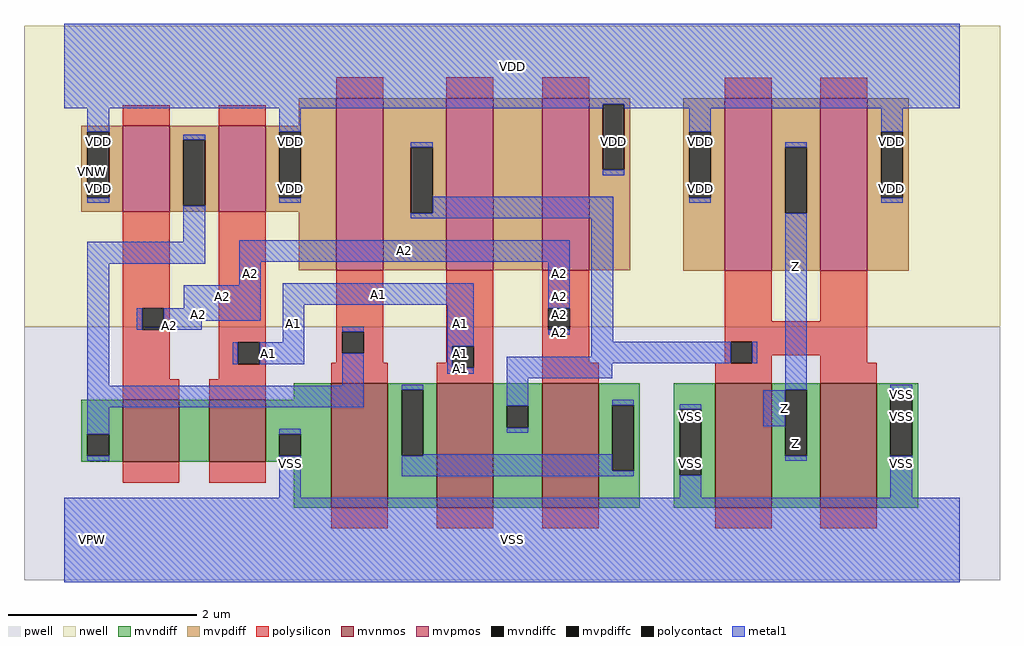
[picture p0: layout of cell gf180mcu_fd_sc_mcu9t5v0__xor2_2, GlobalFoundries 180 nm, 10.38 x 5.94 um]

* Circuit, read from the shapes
.subckt gf180mcu_fd_sc_mcu9t5v0__xor2_2 A1 A2 Z VDD VNW VPW VSS
XM1 n1 A2 n2 VPW nfet_06v0 w=0.66u l=0.6u
XM2 VSS A1 n1 VPW nfet_06v0 w=0.66u l=0.6u
XM3 n3 n2 VSS VPW nfet_06v0 w=1.32u l=0.6u
XM4 n4 A1 n3 VPW nfet_06v0 w=1.32u l=0.6u
XM5 n3 A2 n4 VPW nfet_06v0 w=1.32u l=0.6u
XM6 Z n4 VSS VPW nfet_06v0 w=1.32u l=0.6u m=2
XM7 n2 A2 VDD VNW pfet_06v0 w=0.915u l=0.5u
XM8 VDD A1 n2 VNW pfet_06v0 w=0.915u l=0.5u
XM9 n4 n2 VDD VNW pfet_06v0 w=1.83u l=0.5u
XM10 n5 A1 n4 VNW pfet_06v0 w=1.83u l=0.5u
XM11 VDD A2 n5 VNW pfet_06v0 w=1.83u l=0.5u
XM12 Z n4 VDD VNW pfet_06v0 w=1.83u l=0.5u m=2
.ends

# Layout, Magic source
magic
tech gf180mcuD
magscale 1 10
<< nwell >>
rect -86 453 1990 1094
<< pwell >>
rect -86 -86 1990 453
<< mvnmos >>
rect 124 166 244 298
rect 308 166 428 298
rect 568 69 688 333
rect 792 69 912 333
rect 1016 69 1136 333
rect 1384 69 1504 333
rect 1608 69 1728 333
<< mvpmos >>
rect 124 698 224 881
rect 328 698 428 881
rect 578 574 678 940
rect 812 574 912 940
rect 1016 574 1116 940
rect 1404 573 1504 939
rect 1608 573 1708 939
<< mvndiff >>
rect 488 298 568 333
rect 36 225 124 298
rect 36 179 49 225
rect 95 179 124 225
rect 36 166 124 179
rect 244 166 308 298
rect 428 225 568 298
rect 428 179 457 225
rect 503 179 568 225
rect 428 166 568 179
rect 488 69 568 166
rect 688 319 792 333
rect 688 179 717 319
rect 763 179 792 319
rect 688 69 792 179
rect 912 285 1016 333
rect 912 239 941 285
rect 987 239 1016 285
rect 912 69 1016 239
rect 1136 287 1224 333
rect 1136 147 1165 287
rect 1211 147 1224 287
rect 1136 69 1224 147
rect 1296 278 1384 333
rect 1296 138 1309 278
rect 1355 138 1384 278
rect 1296 69 1384 138
rect 1504 319 1608 333
rect 1504 179 1533 319
rect 1579 179 1608 319
rect 1504 69 1608 179
rect 1728 319 1816 333
rect 1728 179 1757 319
rect 1803 179 1816 319
rect 1728 69 1816 179
<< mvpdiff >>
rect 498 881 578 940
rect 36 868 124 881
rect 36 728 49 868
rect 95 728 124 868
rect 36 698 124 728
rect 224 851 328 881
rect 224 711 253 851
rect 299 711 328 851
rect 224 698 328 711
rect 428 868 578 881
rect 428 728 457 868
rect 503 728 578 868
rect 428 698 578 728
rect 498 574 578 698
rect 678 835 812 940
rect 678 695 737 835
rect 783 695 812 835
rect 678 574 812 695
rect 912 574 1016 940
rect 1116 927 1204 940
rect 1116 787 1145 927
rect 1191 787 1204 927
rect 1116 574 1204 787
rect 1316 868 1404 939
rect 1316 728 1329 868
rect 1375 728 1404 868
rect 1316 573 1404 728
rect 1504 835 1608 939
rect 1504 695 1533 835
rect 1579 695 1608 835
rect 1504 573 1608 695
rect 1708 868 1796 939
rect 1708 728 1737 868
rect 1783 728 1796 868
rect 1708 573 1796 728
<< mvndiffc >>
rect 49 179 95 225
rect 457 179 503 225
rect 717 179 763 319
rect 941 239 987 285
rect 1165 147 1211 287
rect 1309 138 1355 278
rect 1533 179 1579 319
rect 1757 179 1803 319
<< mvpdiffc >>
rect 49 728 95 868
rect 253 711 299 851
rect 457 728 503 868
rect 737 695 783 835
rect 1145 787 1191 927
rect 1329 728 1375 868
rect 1533 695 1579 835
rect 1737 728 1783 868
<< polysilicon >>
rect 578 940 678 984
rect 812 940 912 984
rect 1016 940 1116 984
rect 124 881 224 925
rect 328 881 428 925
rect 124 493 224 698
rect 124 447 165 493
rect 211 447 224 493
rect 124 342 224 447
rect 328 420 428 698
rect 1404 939 1504 983
rect 1608 939 1708 983
rect 328 374 369 420
rect 415 374 428 420
rect 578 443 678 574
rect 578 397 591 443
rect 637 397 678 443
rect 578 377 678 397
rect 812 412 912 574
rect 812 377 825 412
rect 328 342 428 374
rect 124 298 244 342
rect 308 298 428 342
rect 568 333 688 377
rect 792 366 825 377
rect 871 366 912 412
rect 792 333 912 366
rect 1016 493 1116 574
rect 1016 447 1029 493
rect 1075 447 1116 493
rect 1016 377 1116 447
rect 1404 465 1504 573
rect 1608 465 1708 573
rect 1404 422 1708 465
rect 1404 377 1417 422
rect 1016 333 1136 377
rect 1384 376 1417 377
rect 1463 393 1708 422
rect 1463 376 1504 393
rect 1384 333 1504 376
rect 1608 377 1708 393
rect 1608 333 1728 377
rect 124 122 244 166
rect 308 122 428 166
rect 568 25 688 69
rect 792 25 912 69
rect 1016 25 1136 69
rect 1384 25 1504 69
rect 1608 25 1728 69
<< polycontact >>
rect 165 447 211 493
rect 369 374 415 420
rect 591 397 637 443
rect 825 366 871 412
rect 1029 447 1075 493
rect 1417 376 1463 422
<< metal1 >>
rect 0 927 1904 1098
rect 0 918 1145 927
rect 49 868 95 918
rect 457 868 503 918
rect 49 717 95 728
rect 253 851 299 862
rect 457 717 503 728
rect 737 835 783 846
rect 253 634 299 711
rect 1191 918 1904 927
rect 1145 776 1191 787
rect 1329 868 1375 918
rect 783 695 1167 730
rect 1737 868 1783 918
rect 1329 717 1375 728
rect 1533 835 1579 846
rect 737 684 1167 695
rect 49 588 299 634
rect 372 592 1075 638
rect 49 328 95 588
rect 372 542 418 592
rect 254 493 418 542
rect 154 447 165 493
rect 211 466 418 493
rect 464 500 871 546
rect 211 447 292 466
rect 464 420 510 500
rect 358 374 369 420
rect 415 374 510 420
rect 591 443 637 454
rect 591 328 637 397
rect 814 412 871 500
rect 1029 493 1075 592
rect 1029 436 1075 447
rect 814 366 825 412
rect 1121 422 1167 684
rect 1737 717 1783 728
rect 1121 390 1417 422
rect 814 354 871 366
rect 941 376 1417 390
rect 1463 376 1474 422
rect 941 344 1165 376
rect 49 282 637 328
rect 717 319 763 330
rect 49 225 95 282
rect 49 168 95 179
rect 457 225 503 236
rect 457 90 503 179
rect 941 285 987 344
rect 1533 319 1579 695
rect 941 228 987 239
rect 1165 287 1211 298
rect 763 179 1165 182
rect 717 147 1165 179
rect 717 136 1211 147
rect 1309 278 1355 289
rect 1486 242 1533 318
rect 1533 168 1579 179
rect 1757 319 1803 330
rect 1309 90 1355 138
rect 1757 90 1803 179
rect 0 -90 1904 90
<< labels >>
flabel metal1 s 464 500 871 546 0 FreeSans 200 0 0 0 A1
port 1 nsew default input
flabel metal1 s 372 592 1075 638 0 FreeSans 200 0 0 0 A2
port 2 nsew default input
flabel metal1 s 0 918 1904 1098 0 FreeSans 200 0 0 0 VDD
port 4 nsew power bidirectional abutment
flabel metal1 s 1757 289 1803 330 0 FreeSans 200 0 0 0 VSS
port 7 nsew ground bidirectional abutment
flabel metal1 s 1533 318 1579 846 0 FreeSans 200 0 0 0 Z
port 3 nsew default output
flabel nwell s 10 734 110 834 0 FreeSans 400 0 0 0 VNW
port 5 nsew power bidirectional
flabel pwell s 10 -50 110 50 0 FreeSans 400 0 0 0 VPW
port 6 nsew ground bidirectional
rlabel metal1 s 814 420 871 500 1 A1
port 1 nsew default input
rlabel metal1 s 464 420 510 500 1 A1
port 1 nsew default input
rlabel metal1 s 814 374 871 420 1 A1
port 1 nsew default input
rlabel metal1 s 358 374 510 420 1 A1
port 1 nsew default input
rlabel metal1 s 814 354 871 374 1 A1
port 1 nsew default input
rlabel metal1 s 1029 542 1075 592 1 A2
port 2 nsew default input
rlabel metal1 s 372 542 418 592 1 A2
port 2 nsew default input
rlabel metal1 s 1029 493 1075 542 1 A2
port 2 nsew default input
rlabel metal1 s 254 493 418 542 1 A2
port 2 nsew default input
rlabel metal1 s 1029 466 1075 493 1 A2
port 2 nsew default input
rlabel metal1 s 154 466 418 493 1 A2
port 2 nsew default input
rlabel metal1 s 1029 447 1075 466 1 A2
port 2 nsew default input
rlabel metal1 s 154 447 292 466 1 A2
port 2 nsew default input
rlabel metal1 s 1029 436 1075 447 1 A2
port 2 nsew default input
rlabel metal1 s 1486 242 1579 318 1 Z
port 3 nsew default output
rlabel metal1 s 1533 168 1579 242 1 Z
port 3 nsew default output
rlabel metal1 s 1737 776 1783 918 1 VDD
port 4 nsew power bidirectional abutment
rlabel metal1 s 1329 776 1375 918 1 VDD
port 4 nsew power bidirectional abutment
rlabel metal1 s 1145 776 1191 918 1 VDD
port 4 nsew power bidirectional abutment
rlabel metal1 s 457 776 503 918 1 VDD
port 4 nsew power bidirectional abutment
rlabel metal1 s 49 776 95 918 1 VDD
port 4 nsew power bidirectional abutment
rlabel metal1 s 1737 717 1783 776 1 VDD
port 4 nsew power bidirectional abutment
rlabel metal1 s 1329 717 1375 776 1 VDD
port 4 nsew power bidirectional abutment
rlabel metal1 s 457 717 503 776 1 VDD
port 4 nsew power bidirectional abutment
rlabel metal1 s 49 717 95 776 1 VDD
port 4 nsew power bidirectional abutment
rlabel metal1 s 1757 236 1803 289 1 VSS
port 7 nsew ground bidirectional abutment
rlabel metal1 s 1309 236 1355 289 1 VSS
port 7 nsew ground bidirectional abutment
rlabel metal1 s 1757 90 1803 236 1 VSS
port 7 nsew ground bidirectional abutment
rlabel metal1 s 1309 90 1355 236 1 VSS
port 7 nsew ground bidirectional abutment
rlabel metal1 s 457 90 503 236 1 VSS
port 7 nsew ground bidirectional abutment
rlabel metal1 s 0 -90 1904 90 1 VSS
port 7 nsew ground bidirectional abutment
<< properties >>
string FIXED_BBOX 0 0 1904 1008
string GDS_END 493082
string GDS_FILE $PDKPATH/libs.ref/gf180mcu_fd_sc_mcu9t5v0/gds/gf180mcu_fd_sc_mcu9t5v0.gds
string GDS_START 487590
string LEFclass core
string LEFsite GF018hv5v_green_sc9
string LEFsymmetry X Y
<< end >>
